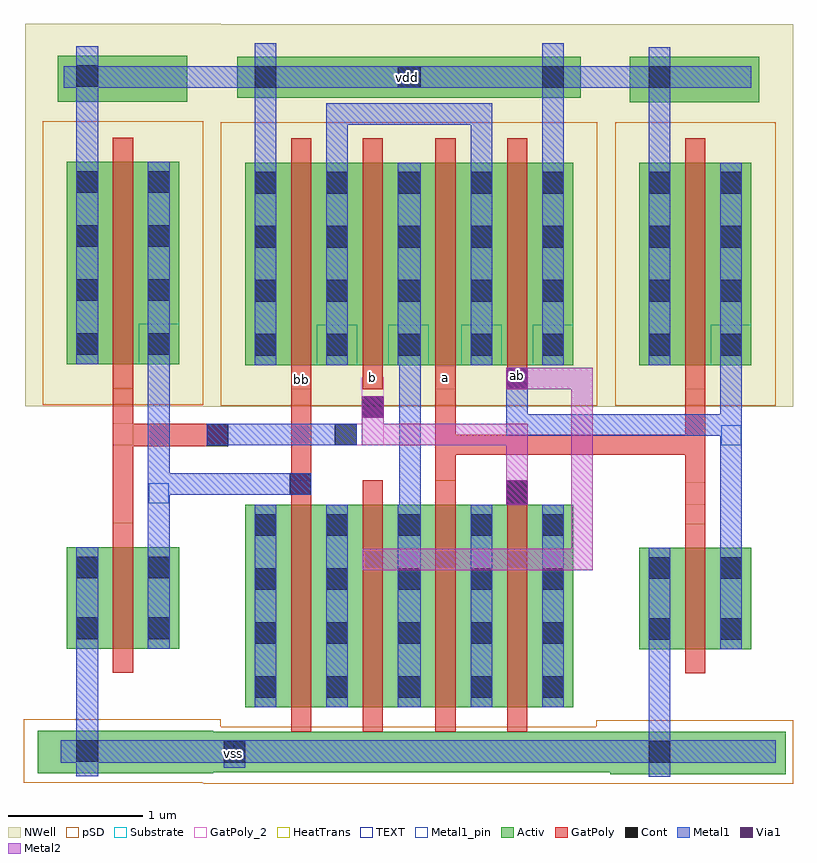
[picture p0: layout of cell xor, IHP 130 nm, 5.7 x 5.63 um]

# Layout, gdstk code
import gdstk
lib = gdstk.Library(unit=1e-6, precision=5e-09)
def R(c, l, rs):  # rectangles x0, y0, x1, y1
    for r in rs: c.add(gdstk.rectangle(r[:2], r[2:], *l))
def A(c, l, x, y, w, h, nx, ny, dx, dy):  # array of equal rectangles
    R(c, l, [(x+i*dx, y+j*dy, x+i*dx+w, y+j*dy+h) for i in range(nx) for j in range(ny)])
def P(c, l, *ps):  # polygons
    for p in ps: c.add(gdstk.Polygon(p, *l))
Activ = (1, 0)
GatPoly = (5, 0)
GatPoly_2 = (5, 2)
Cont = (6, 0)
Metal1 = (8, 0)
Metal1_pin = (8, 2)
Metal2 = (10, 0)
pSD = (14, 0)
Via1 = (19, 0)
NWell = (31, 0)
Substrate = (40, 0)
HeatTrans = (51, 0)
TEXT = (63, 0)

nmos = lib.new_cell('nmos')
R(nmos, Activ, [(0,0,0.3,0.3), (0,0,0.83,1.5), (0.53,0,0.83,0.3)])
R(nmos, GatPoly, [(0.34,-0.18,0.49,1.68)])
R(nmos, GatPoly_2, [(0.34,-0.18,0.49,1.68)])
A(nmos, Cont, 0.07, 0.07, 0.16, 0.16, 1, 4, 0, 0.4)
A(nmos, Cont, 0.6, 0.07, 0.16, 0.16, 1, 4, 0, 0.4)
R(nmos, Metal1, [(0.07,0,0.23,1.5), (0.6,0,0.76,1.5)])
R(nmos, Metal1_pin, [(0.07,0,0.23,1.5), (0.6,0,0.76,1.5)])
R(nmos, HeatTrans, [(0.34,-0.18,0.49,1.68)])
nmos.add(gdstk.Label('nmos', (0.415,0.75), layer=63, texttype=0))
nmos.add(gdstk.Label('nmos', (0.415,0.75), layer=51, texttype=0))

pmos = lib.new_cell('pmos')
R(pmos, Activ, [(0,0,0.3,0.3), (0,0,0.83,1.5), (0.53,0,0.83,0.3)])
R(pmos, GatPoly, [(0.34,-0.18,0.49,1.68), (0.34,-0.18,0.49,1.68)])
A(pmos, Cont, 0.07, 0.07, 0.16, 0.16, 1, 4, 0, 0.4)
A(pmos, Cont, 0.6, 0.07, 0.16, 0.16, 1, 4, 0, 0.4)
R(pmos, Metal1, [(0.07,0,0.23,1.5), (0.07,0,0.23,1.5), (0.6,0,0.76,1.5), (0.6,0,0.76,1.5)])
R(pmos, pSD, [(-0.18,-0.3,1.01,1.8)])
R(pmos, NWell, [(-0.31,-0.31,1.14,1.81)])
R(pmos, Substrate, [(0.53,0,0.83,0.3)])
R(pmos, HeatTrans, [(0.34,-0.18,0.49,1.68)])
pmos.add(gdstk.Label('pmos', (0.415,0.75), layer=63, texttype=0))
pmos.add(gdstk.Label('pmos', (0.415,0.75), layer=51, texttype=0))

nmos_1 = lib.new_cell('nmos$1')
R(nmos_1, Activ, [(0,0,0.3,0.3), (0,0,0.83,0.75), (0.53,0,0.83,0.3)])
R(nmos_1, GatPoly, [(0.34,-0.18,0.49,0.93)])
R(nmos_1, GatPoly_2, [(0.34,-0.18,0.49,0.93)])
R(nmos_1, Cont, [(0.07,0.07,0.23,0.23), (0.6,0.07,0.76,0.23), (0.07,0.52,0.23,0.68), (0.6,0.52,0.76,0.68)])
R(nmos_1, Metal1, [(0.07,0,0.23,0.75), (0.6,0,0.76,0.75)])
R(nmos_1, Metal1_pin, [(0.07,0,0.23,0.75), (0.6,0,0.76,0.75)])
R(nmos_1, HeatTrans, [(0.34,-0.18,0.49,0.93)])
nmos_1.add(gdstk.Label('nmos', (0.415,0.375), layer=63, texttype=0))
nmos_1.add(gdstk.Label('nmos', (0.415,0.375), layer=51, texttype=0))

pmos_1 = lib.new_cell('pmos$1')
R(pmos_1, Activ, [(0,0,0.3,0.3), (0,0,0.83,1.5), (0.53,0,0.83,0.3)])
R(pmos_1, GatPoly, [(0.34,-0.18,0.49,1.68), (0.34,-0.18,0.49,1.68)])
A(pmos_1, Cont, 0.07, 0.07, 0.16, 0.16, 1, 4, 0, 0.4)
A(pmos_1, Cont, 0.6, 0.07, 0.16, 0.16, 1, 4, 0, 0.4)
R(pmos_1, Metal1, [(0.07,0,0.23,1.5), (0.07,0,0.23,1.5), (0.6,0,0.76,1.5), (0.6,0,0.76,1.5)])
R(pmos_1, pSD, [(-0.18,-0.3,1.01,1.8)])
R(pmos_1, NWell, [(-0.31,-0.31,1.14,1.81)])
R(pmos_1, Substrate, [(0.53,0,0.83,0.3)])
R(pmos_1, HeatTrans, [(0.34,-0.18,0.49,1.68)])
pmos_1.add(gdstk.Label('pmos', (0.415,0.75), layer=63, texttype=0))
pmos_1.add(gdstk.Label('pmos', (0.415,0.75), layer=51, texttype=0))

inverter = lib.new_cell('inverter')
R(inverter, Activ, [(1.335,-1.99,2.635,-1.675), (1.48,2.985,2.44,3.325)])
R(inverter, GatPoly, [(1.89,-0.135,2.04,1.34)])
R(inverter, GatPoly_2, [(1.89,0.005,2.04,0.17)])
R(inverter, Cont, [(1.62,-1.905,1.78,-1.745), (1.62,2.31,1.78,2.47), (1.62,3.095,1.78,3.255)])
R(inverter, Metal1, [(1.62,-2.01,1.78,-1.065), (2.15,-0.315,2.31,1.27), (1.62,2.15,1.78,3.395)])
R(inverter, Metal1_pin, [(1.62,-1.905,1.78,-1.745), (2.155,0.445,2.305,0.595), (1.62,3.095,1.78,3.255)])
R(inverter, pSD, [(1.23,-2.06,2.69,-1.59)])
R(inverter, NWell, [(1.24,2.85,2.69,3.565)])
inverter.add(gdstk.Reference(nmos_1, (1.55,-1.065)))
inverter.add(gdstk.Reference(pmos_1, (1.55,1.04)))
inverter.add(gdstk.Label('out', (2.23,0.52), layer=8, texttype=2))
inverter.add(gdstk.Label('vdd', (1.685,3.17), layer=8, texttype=2))
inverter.add(gdstk.Label('vss', (1.69,-1.84), layer=8, texttype=2))
inverter.add(gdstk.Label('in', (1.94,0.09), layer=5, texttype=2))

nmos_2 = lib.new_cell('nmos$2')
R(nmos_2, Activ, [(0,0,0.3,0.3), (0,0,0.83,0.75), (0.53,0,0.83,0.3)])
R(nmos_2, GatPoly, [(0.34,-0.18,0.49,0.93)])
R(nmos_2, GatPoly_2, [(0.34,-0.18,0.49,0.93)])
R(nmos_2, Cont, [(0.07,0.07,0.23,0.23), (0.6,0.07,0.76,0.23), (0.07,0.52,0.23,0.68), (0.6,0.52,0.76,0.68)])
R(nmos_2, Metal1, [(0.07,0,0.23,0.75), (0.6,0,0.76,0.75)])
R(nmos_2, Metal1_pin, [(0.07,0,0.23,0.75), (0.6,0,0.76,0.75)])
R(nmos_2, HeatTrans, [(0.34,-0.18,0.49,0.93)])
nmos_2.add(gdstk.Label('nmos', (0.415,0.375), layer=63, texttype=0))
nmos_2.add(gdstk.Label('nmos', (0.415,0.375), layer=51, texttype=0))

pmos_1_1 = lib.new_cell('pmos$1$1')
R(pmos_1_1, Activ, [(0,0,0.3,0.3), (0,0,0.83,1.5), (0.53,0,0.83,0.3)])
R(pmos_1_1, GatPoly, [(0.34,-0.18,0.49,1.68), (0.34,-0.18,0.49,1.68)])
A(pmos_1_1, Cont, 0.07, 0.07, 0.16, 0.16, 1, 4, 0, 0.4)
A(pmos_1_1, Cont, 0.6, 0.07, 0.16, 0.16, 1, 4, 0, 0.4)
R(pmos_1_1, Metal1, [(0.07,0,0.23,1.5), (0.07,0,0.23,1.5), (0.6,0,0.76,1.5), (0.6,0,0.76,1.5)])
R(pmos_1_1, pSD, [(-0.18,-0.3,1.01,1.8)])
R(pmos_1_1, NWell, [(-0.31,-0.31,1.14,1.81)])
R(pmos_1_1, Substrate, [(0.53,0,0.83,0.3)])
R(pmos_1_1, HeatTrans, [(0.34,-0.18,0.49,1.68)])
pmos_1_1.add(gdstk.Label('pmos', (0.415,0.75), layer=63, texttype=0))
pmos_1_1.add(gdstk.Label('pmos', (0.415,0.75), layer=51, texttype=0))

inverter_1 = lib.new_cell('inverter$1')
R(inverter_1, Activ, [(1.335,-1.99,2.635,-1.675), (1.48,2.985,2.44,3.325)])
R(inverter_1, GatPoly, [(1.89,-0.135,2.04,1.34)])
R(inverter_1, GatPoly_2, [(1.89,0.44,2.04,0.605)])
R(inverter_1, Cont, [(1.62,-1.905,1.78,-1.745), (1.62,2.31,1.78,2.47), (1.62,3.095,1.78,3.255)])
R(inverter_1, Metal1, [(1.62,-2.01,1.78,-1.065), (2.15,-0.315,2.31,1.27), (1.62,2.15,1.78,3.395)])
R(inverter_1, Metal1_pin, [(1.62,-1.905,1.78,-1.745), (2.155,0.01,2.305,0.16), (1.62,3.095,1.78,3.255)])
R(inverter_1, pSD, [(1.23,-2.06,2.69,-1.59)])
R(inverter_1, NWell, [(1.24,2.85,2.69,3.565)])
inverter_1.add(gdstk.Reference(nmos_2, (1.55,-1.065)))
inverter_1.add(gdstk.Reference(pmos_1_1, (1.55,1.04)))
inverter_1.add(gdstk.Label('vdd', (1.685,3.17), layer=8, texttype=2))
inverter_1.add(gdstk.Label('out', (2.23,0.085), layer=8, texttype=2))
inverter_1.add(gdstk.Label('vss', (1.69,-1.84), layer=8, texttype=2))
inverter_1.add(gdstk.Label('in', (1.94,0.525), layer=5, texttype=2))

xor = lib.new_cell('xor')
R(xor, Activ, [(-2.935,-1.82,0.08,-1.52), (-2.685,3.175,-1.21,3.48), (-1.615,3.175,-0.14,3.48)])
R(xor, GatPoly, [(-2.295,0.235,-2.135,0.395), (-3.605,0.595,-2.75,0.76), (-0.69,1.015,-0.53,1.175)])
R(xor, GatPoly_2, [(-1.96,0.6,-1.8,0.76), (-2.285,1.015,-2.135,1.195), (-1.755,1.015,-1.605,1.195), (-1.215,1.015,-1.065,1.19), (-0.685,1.025,-0.535,1.195)])
R(xor, Cont, [(-2.785,-1.75,-2.625,-1.59), (-0.685,0.16,-0.53,0.34), (-2.295,0.235,-2.135,0.395), (-2.91,0.595,-2.75,0.76), (-1.96,0.6,-1.8,0.76), (-1.76,0.805,-1.6,0.965), (-0.69,1.015,-0.53,1.175), (-2.555,3.25,-2.395,3.41), (-2.555,3.25,-2.395,3.41), (-1.495,3.25,-1.335,3.41), (-1.485,3.25,-1.325,3.41), (-0.425,3.25,-0.265,3.41)])
R(xor, Metal1, [(-2.785,-1.79,-2.625,-1.67), (-3.99,-1.75,1.305,-1.585), (-2.875,-1.75,-2.705,-1.59), (-2.555,2.465,-2.395,3.58), (-0.425,2.465,-0.265,3.58), (-3.97,3.25,-1.255,3.41), (-1.255,3.25,1.125,3.41)])
P(xor, Metal1, [(-2.025,1.195),(-2.025,1.195),(-1.865,1.195),(-1.865,1.195)],
  [(-0.955,1.195),(-0.955,1.195),(-0.795,1.195),(-0.795,1.195)])
R(xor, Metal1_pin, [(-1.495,3.25,-1.335,3.41), (-1.485,3.25,-1.325,3.41), (-0.425,3.25,-0.265,3.41)])
R(xor, pSD, [(-2.935,-1.905,-0.025,-1.485)])
R(xor, Via1, [(-0.69,0.16,-0.53,0.34), (-1.76,0.805,-1.6,0.965), (-0.69,1.015,-0.53,1.175)])
R(xor, NWell, [(-2.935,3.005,-0.955,3.72), (-1.865,3.005,0.115,3.72)])
P(xor, NWell, [(-0.685,1.015),(-0.685,1.015),(-0.535,1.015),(-0.535,1.015)])
xor.add(gdstk.FlexPath([(-2.21,1.105),(-2.21,0.16),(-2.21,0.16)], 0.15, ends="flush", simple_path=True, layer=5, datatype=0))  # GatPoly
xor.add(gdstk.FlexPath([(-1.14,1.1),(-1.14,0.16),(-1.14,0.16)], 0.15, ends="flush", simple_path=True, layer=5, datatype=0))  # GatPoly
xor.add(gdstk.FlexPath([(0.785,0.605),(-1.14,0.605),(-1.14,0.605)], 0.15, ends="flush", simple_path=True, layer=5, datatype=0))  # GatPoly
xor.add(gdstk.FlexPath([(-1.945,2.545),(-1.945,3.055),(-0.875,3.055),(-0.875,2.545)], 0.16, ends="flush", simple_path=True, layer=8, datatype=0))  # Metal1
xor.add(gdstk.FlexPath([(-1.405,1.345),(-1.405,0.01),(-1.405,0.01)], 0.16, ends="flush", simple_path=True, layer=8, datatype=0))  # Metal1
xor.add(gdstk.FlexPath([(0.975,0.75),(-0.61,0.75),(-0.61,1.175)], 0.16, ends="flush", simple_path=True, layer=8, datatype=0))  # Metal1
xor.add(gdstk.FlexPath([(-3.34,0.315),(-2.135,0.315),(-2.135,0.315)], 0.16, ends="flush", simple_path=True, layer=8, datatype=0))  # Metal1
xor.add(gdstk.FlexPath([(-2.91,0.68),(-1.8,0.68)], 0.16, ends="flush", simple_path=True, layer=8, datatype=0))  # Metal1
xor.add(gdstk.FlexPath([(-2.705,-1.67),(-2.785,-1.67),(-2.785,-1.67)], 0.16, ends="flush", simple_path=True, layer=63, datatype=0))  # TEXT
xor.add(gdstk.FlexPath([(-1.68,1.105),(-1.68,0.68),(-1.96,0.68),(-1.96,0.68)], 0.16, ends="flush", simple_path=True, layer=5, datatype=2))  # GatPoly_2
xor.add(gdstk.FlexPath([(-0.61,0.16),(-0.61,0.68),(-1.68,0.68),(-1.68,0.965)], 0.16, ends="flush", simple_path=True, layer=10, datatype=0))  # Metal2
xor.add(gdstk.FlexPath([(-0.69,1.095),(-0.13,1.095),(-0.13,-0.245),(-1.755,-0.245)], 0.16, ends="flush", simple_path=True, layer=10, datatype=0))  # Metal2
xor.add(gdstk.Reference(nmos, (-2.625,-1.34)))
xor.add(gdstk.Reference(nmos, (-2.095,-1.34)))
xor.add(gdstk.Reference(pmos, (-2.095,1.195)))
xor.add(gdstk.Reference(pmos, (-2.625,1.195)))
xor.add(gdstk.Reference(pmos, (-1.025,1.195)))
xor.add(gdstk.Reference(pmos, (-1.555,1.195)))
xor.add(gdstk.Reference(nmos, (-1.555,-1.34)))
xor.add(gdstk.Reference(nmos, (-1.025,-1.34)))
xor.add(gdstk.Reference(inverter, (-1.255,0.155)))
xor.add(gdstk.Reference(inverter_1, (-5.495,0.16)))
xor.add(gdstk.Label('vdd', (-1.42,3.325), layer=8, texttype=2))
xor.add(gdstk.Label('vss', (-2.715,-1.685), layer=8, texttype=2))
xor.add(gdstk.Label('bb', (-2.21,1.085), layer=5, texttype=2))
xor.add(gdstk.Label('b', (-1.68,1.105), layer=5, texttype=2))
xor.add(gdstk.Label('a', (-1.14,1.1), layer=5, texttype=2))
xor.add(gdstk.Label('ab', (-0.61,1.12), layer=5, texttype=2))

lib.write_gds('xor.gds')
